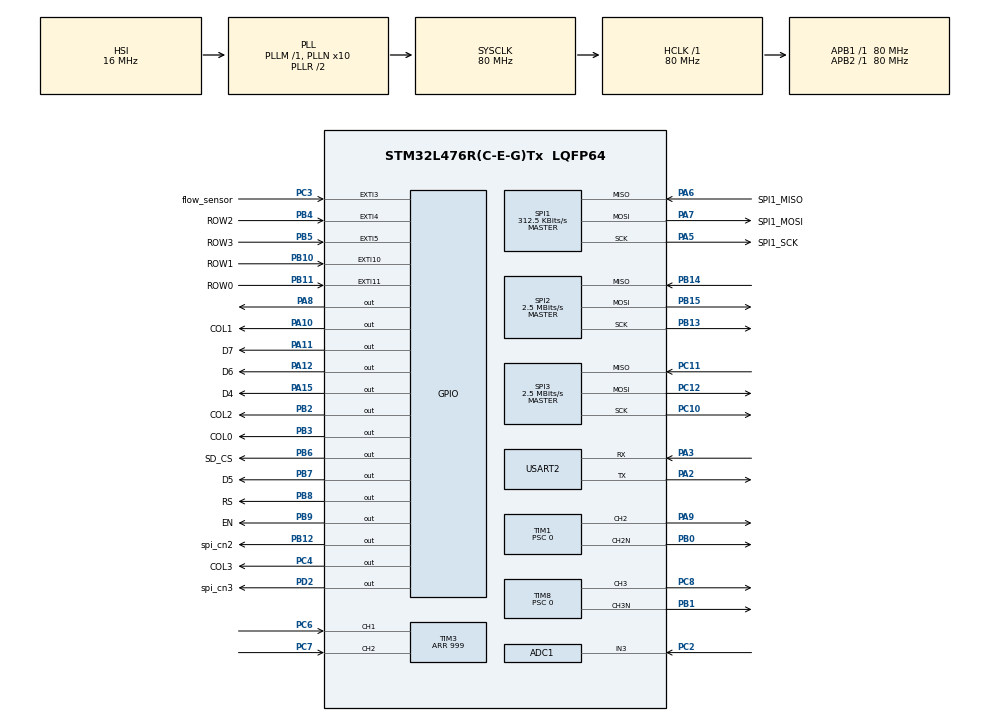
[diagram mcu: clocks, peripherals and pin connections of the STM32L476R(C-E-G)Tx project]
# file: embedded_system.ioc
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ADC1.Channel-0\#ChannelRegularConversion=ADC_CHANNEL_3
ADC1.ClockPrescaler=ADC_CLOCK_ASYNC_DIV256
ADC1.ContinuousConvMode=ENABLE
ADC1.DMAContinuousRequests=ENABLE
ADC1.NbrOfConversion=1
ADC1.NbrOfConversionFlag=1
ADC1.OffsetNumber-0\#ChannelRegularConversion=ADC_OFFSET_NONE
ADC1.Rank-0\#ChannelRegularConversion=1
ADC1.SamplingTime-0\#ChannelRegularConversion=ADC_SAMPLETIME_247CYCLES_5
ADC1.master=1
Dma.ADC1.2.Direction=DMA_PERIPH_TO_MEMORY
Dma.ADC1.2.Instance=DMA1_Channel1
Dma.ADC1.2.MemDataAlignment=DMA_MDATAALIGN_HALFWORD
Dma.ADC1.2.MemInc=DMA_MINC_ENABLE
Dma.ADC1.2.Mode=DMA_CIRCULAR
Dma.ADC1.2.PeriphDataAlignment=DMA_PDATAALIGN_HALFWORD
Dma.ADC1.2.PeriphInc=DMA_PINC_DISABLE
Dma.ADC1.2.Priority=DMA_PRIORITY_LOW
Dma.Request0=SPI1_RX
Dma.Request1=SPI1_TX
Dma.Request2=ADC1
Dma.SPI1_RX.0.Direction=DMA_PERIPH_TO_MEMORY
Dma.SPI1_RX.0.Instance=DMA1_Channel2
Dma.SPI1_RX.0.MemDataAlignment=DMA_MDATAALIGN_BYTE
Dma.SPI1_RX.0.MemInc=DMA_MINC_ENABLE
Dma.SPI1_RX.0.Mode=DMA_NORMAL
Dma.SPI1_RX.0.PeriphDataAlignment=DMA_PDATAALIGN_BYTE
Dma.SPI1_RX.0.PeriphInc=DMA_PINC_DISABLE
Dma.SPI1_RX.0.Priority=DMA_PRIORITY_LOW
Dma.SPI1_TX.1.Direction=DMA_MEMORY_TO_PERIPH
Dma.SPI1_TX.1.Instance=DMA1_Channel3
Dma.SPI1_TX.1.MemDataAlignment=DMA_MDATAALIGN_BYTE
Dma.SPI1_TX.1.MemInc=DMA_MINC_ENABLE
Dma.SPI1_TX.1.Mode=DMA_NORMAL
Dma.SPI1_TX.1.PeriphDataAlignment=DMA_PDATAALIGN_BYTE
Dma.SPI1_TX.1.PeriphInc=DMA_PINC_DISABLE
Dma.SPI1_TX.1.Priority=DMA_PRIORITY_LOW
FATFS._MAX_SS=512
FATFS._USE_FASTSEEK=1
FATFS._USE_LABEL=1
FATFS._USE_LFN=3
FATFS._USE_MKFS=1
Mcu.Family=STM32L4
Mcu.Name=STM32L476R(C-E-G)Tx
Mcu.Package=LQFP64
NVIC.DMA1_Channel1_IRQn=true\:0\:0\:false\:false\:true\:false\:true\:true
NVIC.DMA1_Channel2_IRQn=true\:0\:0\:false\:false\:true\:false\:true\:true
NVIC.DMA1_Channel3_IRQn=true\:0\:0\:false\:false\:true\:false\:true\:true
NVIC.EXTI15_10_IRQn=true\:0\:0\:false\:false\:true\:true\:true\:true
NVIC.EXTI3_IRQn=true\:0\:0\:false\:false\:true\:true\:true\:true
NVIC.EXTI4_IRQn=true\:0\:0\:false\:false\:true\:true\:true\:true
NVIC.EXTI9_5_IRQn=true\:0\:0\:false\:false\:true\:true\:true\:true
NVIC.PriorityGroup=NVIC_PRIORITYGROUP_4
NVIC.TIM1_TRG_COM_TIM17_IRQn=true\:0\:0\:false\:false\:true\:true\:true\:true
NVIC.TIM2_IRQn=true\:0\:0\:false\:false\:true\:true\:true\:true
NVIC.TIM3_IRQn=true\:0\:0\:false\:false\:true\:true\:true\:true
PA10.GPIO_Label=COL1
PA10.Signal=GPIO_Output
PA11.GPIO_Label=D7
PA11.GPIO_ModeDefaultOutputPP=GPIO_MODE_OUTPUT_PP
PA11.GPIO_PuPd=GPIO_NOPULL
PA11.GPIO_Speed=GPIO_SPEED_FREQ_HIGH
PA11.PinState=GPIO_PIN_RESET
PA11.Signal=GPIO_Output
PA12.GPIO_Label=D6
PA12.GPIO_ModeDefaultOutputPP=GPIO_MODE_OUTPUT_PP
PA12.GPIO_PuPd=GPIO_NOPULL
PA12.GPIO_Speed=GPIO_SPEED_FREQ_HIGH
PA12.PinState=GPIO_PIN_RESET
PA12.Signal=GPIO_Output
PA13\ (JTMS-SWDIO).GPIO_Label=TMS
PA13\ (JTMS-SWDIO).Signal=SYS_JTMS-SWDIO
PA14\ (JTCK-SWCLK).GPIO_Label=TCK
PA14\ (JTCK-SWCLK).Signal=SYS_JTCK-SWCLK
PA15\ (JTDI).GPIO_Label=D4
PA15\ (JTDI).GPIO_ModeDefaultOutputPP=GPIO_MODE_OUTPUT_PP
PA15\ (JTDI).GPIO_PuPd=GPIO_NOPULL
PA15\ (JTDI).GPIO_Speed=GPIO_SPEED_FREQ_HIGH
PA15\ (JTDI).PinState=GPIO_PIN_RESET
PA15\ (JTDI).Signal=GPIO_Output
PA2.Mode=Asynchronous
PA2.Signal=USART2_TX
PA3.Mode=Asynchronous
PA3.Signal=USART2_RX
PA5.GPIO_Label=SPI1_SCK
PA5.Mode=Full_Duplex_Master
PA5.Signal=SPI1_SCK
PA6.GPIO_Label=SPI1_MISO
PA6.Mode=Full_Duplex_Master
PA6.Signal=SPI1_MISO
PA7.GPIO_Label=SPI1_MOSI
PA7.Mode=Full_Duplex_Master
PA7.Signal=SPI1_MOSI
PA8.Signal=GPIO_Output
PA9.Signal=S_TIM1_CH2
PB0.Mode=PWM Generation2 CH2 CH2N
PB0.Signal=TIM1_CH2N
PB1.Mode=PWM Generation3 CH3 CH3N
PB1.Signal=TIM8_CH3N
PB10.GPIO_Label=ROW1
PB10.GPIO_ModeDefaultEXTI=GPIO_MODE_IT_RISING
PB10.GPIO_PuPd=GPIO_NOPULL
PB10.Signal=GPXTI10
PB11.GPIO_Label=ROW0
PB11.Signal=GPXTI11
PB12.GPIO_Label=spi_cn2
PB12.GPIO_Speed=GPIO_SPEED_FREQ_HIGH
PB12.PinState=GPIO_PIN_SET
PB12.Signal=GPIO_Output
PB13.Mode=Full_Duplex_Master
PB13.Signal=SPI2_SCK
PB14.Mode=Full_Duplex_Master
PB14.Signal=SPI2_MISO
PB15.Mode=Full_Duplex_Master
PB15.Signal=SPI2_MOSI
PB2.GPIO_Label=COL2
PB2.Signal=GPIO_Output
PB3\ (JTDO-TRACESWO).GPIO_Label=COL0
PB3\ (JTDO-TRACESWO).PinState=GPIO_PIN_RESET
PB3\ (JTDO-TRACESWO).Signal=GPIO_Output
PB4\ (NJTRST).GPIO_Label=ROW2
PB4\ (NJTRST).GPIO_ModeDefaultEXTI=GPIO_MODE_IT_RISING
PB4\ (NJTRST).GPIO_PuPd=GPIO_NOPULL
PB4\ (NJTRST).Signal=GPXTI4
PB5.GPIO_Label=ROW3
PB5.GPIO_ModeDefaultEXTI=GPIO_MODE_IT_RISING
PB5.GPIO_PuPd=GPIO_NOPULL
PB5.Signal=GPXTI5
PB6.GPIO_FM6=__NULL
PB6.GPIO_Label=SD_CS
PB6.GPIO_Speed=GPIO_SPEED_FREQ_VERY_HIGH
PB6.PinState=GPIO_PIN_SET
PB6.Signal=GPIO_Output
PB7.GPIO_Label=D5
PB7.GPIO_ModeDefaultOutputPP=GPIO_MODE_OUTPUT_PP
PB7.GPIO_PuPd=GPIO_NOPULL
PB7.GPIO_Speed=GPIO_SPEED_FREQ_HIGH
PB7.PinState=GPIO_PIN_RESET
PB7.Signal=GPIO_Output
PB8.GPIO_Label=RS
PB8.GPIO_ModeDefaultOutputPP=GPIO_MODE_OUTPUT_PP
PB8.GPIO_PuPd=GPIO_NOPULL
PB8.GPIO_Speed=GPIO_SPEED_FREQ_HIGH
PB8.PinState=GPIO_PIN_RESET
PB8.Signal=GPIO_Output
PB9.GPIO_Label=EN
PB9.GPIO_ModeDefaultOutputPP=GPIO_MODE_OUTPUT_PP
PB9.GPIO_PuPd=GPIO_NOPULL
PB9.GPIO_Speed=GPIO_SPEED_FREQ_HIGH
PB9.PinState=GPIO_PIN_RESET
PB9.Signal=GPIO_Output
PC10.Mode=Full_Duplex_Master
PC10.Signal=SPI3_SCK
PC11.Mode=Full_Duplex_Master
PC11.Signal=SPI3_MISO
PC12.Mode=Full_Duplex_Master
PC12.Signal=SPI3_MOSI
PC14-OSC32_IN\ (PC14).Mode=LSE-External-Clock-Source
PC14-OSC32_IN\ (PC14).Signal=RCC_OSC32_IN
PC15-OSC32_OUT\ (PC15).Signal=RCC_OSC32_OUT
PC2.Signal=ADCx_IN3
PC3.GPIO_Label=flow_sensor
PC3.GPIO_PuPd=GPIO_PULLUP
PC3.Signal=GPXTI3
PC4.GPIO_Label=COL3
PC4.Signal=GPIO_Output
PC5.Signal=ADCx_IN14
PC6.Signal=S_TIM3_CH1
PC7.Signal=S_TIM3_CH2
PC8.Signal=S_TIM8_CH3
PD2.GPIO_Label=spi_cn3
PD2.GPIO_Speed=GPIO_SPEED_FREQ_HIGH
PD2.Signal=GPIO_Output
PH0-OSC_IN\ (PH0).Mode=HSE-External-Oscillator
PH0-OSC_IN\ (PH0).Signal=RCC_OSC_IN
PH1-OSC_OUT\ (PH1).Mode=HSE-External-Oscillator
PH1-OSC_OUT\ (PH1).Signal=RCC_OSC_OUT
ProjectManager.HeapSize=0x200
ProjectManager.StackSize=0x400
ProjectManager.TargetToolchain=STM32CubeIDE
RCC.ADCFreq_Value=64000000
RCC.AHBFreq_Value=80000000
RCC.APB1Freq_Value=80000000
RCC.APB1TimFreq_Value=80000000
RCC.APB2Freq_Value=80000000
RCC.APB2TimFreq_Value=80000000
RCC.CortexFreq_Value=80000000
RCC.HCLKFreq_Value=80000000
RCC.HSE_VALUE=25000000
RCC.HSI_VALUE=16000000
RCC.LSE_VALUE=32768
RCC.MSI_VALUE=4000000
RCC.PLLN=10
RCC.PLLSourceVirtual=RCC_PLLSOURCE_HSI
RCC.PREFETCH_ENABLE=1
RCC.SYSCLKFreq_VALUE=80000000
RCC.SYSCLKSource=RCC_SYSCLKSOURCE_PLLCLK
RCC.USBFreq_Value=64000000
RCC.VCOOutputFreq_Value=160000000
SH.ADCx_IN14.0=ADC2_IN14
SH.ADCx_IN3.0=ADC1_IN3,IN3-Single-Ended
SH.S_TIM1_CH2.0=TIM1_CH2,PWM Generation2 CH2 CH2N
SH.S_TIM3_CH1.0=TIM3_CH1,Encoder_Interface
SH.S_TIM3_CH2.0=TIM3_CH2,Encoder_Interface
SH.S_TIM8_CH3.0=TIM8_CH3,PWM Generation3 CH3 CH3N
SPI1.BaudRatePrescaler=SPI_BAUDRATEPRESCALER_256
SPI1.CalculateBaudRate=312.5 KBits/s
SPI1.DataSize=SPI_DATASIZE_8BIT
SPI1.Direction=SPI_DIRECTION_2LINES
SPI1.Mode=SPI_MODE_MASTER
SPI1.VirtualType=VM_MASTER
SPI2.BaudRatePrescaler=SPI_BAUDRATEPRESCALER_32
SPI2.CLKPhase=SPI_PHASE_2EDGE
SPI2.CLKPolarity=SPI_POLARITY_HIGH
SPI2.CalculateBaudRate=2.5 MBits/s
SPI2.DataSize=SPI_DATASIZE_8BIT
SPI2.Direction=SPI_DIRECTION_2LINES
SPI2.Mode=SPI_MODE_MASTER
SPI2.VirtualType=VM_MASTER
SPI3.BaudRatePrescaler=SPI_BAUDRATEPRESCALER_32
SPI3.CLKPhase=SPI_PHASE_2EDGE
SPI3.CLKPolarity=SPI_POLARITY_HIGH
SPI3.CalculateBaudRate=2.5 MBits/s
SPI3.DataSize=SPI_DATASIZE_8BIT
SPI3.Direction=SPI_DIRECTION_2LINES
SPI3.Mode=SPI_MODE_MASTER
SPI3.VirtualType=VM_MASTER
TIM1.Channel-PWM\ Generation2\ CH2\ CH2N=TIM_CHANNEL_2
TIM1.Period=248
TIM1.Prescaler=0
TIM1.TIM_MasterOutputTrigger=TIM_TRGO_UPDATE
TIM1.TIM_MasterOutputTrigger2=TIM_TRGO2_UPDATE
TIM1.TIM_MasterSlaveMode=TIM_MASTERSLAVEMODE_ENABLE
TIM2.Period=7999
TIM2.Prescaler=1
TIM3.AutoReloadPreload=TIM_AUTORELOAD_PRELOAD_ENABLE
TIM3.EncoderMode=TIM_ENCODERMODE_TI12
TIM3.IC2Filter=10
TIM3.Period=999
TIM8.Channel-PWM\ Generation3\ CH3\ CH3N=TIM_CHANNEL_3
TIM8.Period=248
TIM8.Prescaler=0
TIM8.TIM_MasterSlaveMode=TIM_MASTERSLAVEMODE_ENABLE
USART2.VirtualMode-Asynchronous=VM_ASYNC
VP_FATFS_VS_Generic.Mode=User_defined
VP_TIM1_VS_ClockSourceITR.Mode=TriggerSource_ITR0
VP_TIM2_VS_ClockSourceINT.Mode=Internal
VP_TIM8_VS_ClockSourceITR.Mode=TriggerSource_ITR0
VP_TIM8_VS_ControllerModeTrigger.Mode=Trigger Mode
board=NUCLEO-L476RG

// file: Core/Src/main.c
/* USER CODE BEGIN Header */
/**
 ******************************************************************************
 * @file           : main.c
 * @brief          : Main program body
 ******************************************************************************
 * @attention
 *
 * Copyright (c) 2025 STMicroelectronics.
 * All rights reserved.
 *
 * This software is licensed under terms that can be found in the LICENSE file
 * in the root directory of this software component.
 * If no LICENSE file comes with this software, it is provided AS-IS.
 *
 ******************************************************************************
 */
/* USER CODE END Header */
#include "main.h"
#include "fatfs.h"

/* USER CODE BEGIN Includes */
#include "run.h"
#include "flow_sensor.h"
#include "lcd.h"
#include "rotary_encoder.h"
#include "delay.h"
#include "stm32l4xx_hal.h"
#include "stm32l476xx.h"
#include "keypad.h"
/* USER CODE END Includes */

ADC_HandleTypeDef hadc1;
DMA_HandleTypeDef hdma_adc1;

SPI_HandleTypeDef hspi1;
SPI_HandleTypeDef hspi2;
SPI_HandleTypeDef hspi3;
DMA_HandleTypeDef hdma_spi1_rx;
DMA_HandleTypeDef hdma_spi1_tx;

TIM_HandleTypeDef htim1;
TIM_HandleTypeDef htim2;
TIM_HandleTypeDef htim3;
TIM_HandleTypeDef htim8;

UART_HandleTypeDef huart2;

/* USER CODE BEGIN PV */
TIM_TypeDef getTimer3Instance()
{
  return *htim3.Instance;
}
void HAL_GPIO_EXTI_Callback(uint16_t GPIO_Pin)
{
  switch (GPIO_Pin)
  {
  case flow_sensor_Pin:
    onFlowPulse();
    break;
  case ROW0_Pin:
    rowEvent(0);
    break;
  case ROW1_Pin:
    rowEvent(1);
    break;
  case ROW2_Pin:
    rowEvent(2);
    break;
  case ROW3_Pin:
    rowEvent(3);
    break;
  }
}
void HAL_TIM_IC_CaptureCallback(TIM_HandleTypeDef *htim)
{
  // Called on CC1/CC2 edges (i.e., every count change in encoder mode)
  if (htim->Instance == TIM3)
  {
    // Read count and direction
    int16_t cnt = (int16_t)__HAL_TIM_GET_COUNTER(htim);
    unsigned down = __HAL_TIM_IS_TIM_COUNTING_DOWN(htim); // 0=cw, 1=ccw

    // TODO: your handler
    // Example: call a user function to react to step
    onRotate(cnt, down);
  }
}

void HAL_TIM_PeriodElapsedCallback(TIM_HandleTypeDef *htim)
{
  if (htim->Instance == TIM3)
  {
    onWrap(__HAL_TIM_IS_TIM_COUNTING_DOWN(htim));
    // handle wrap-around if you care
  }
  if (htim->Instance == TIM2)
  {
    // HAL_GPIO_TogglePin(LD2_GPIO_Port, LD2_Pin);
    LCD_TIM_2_Callback(); // from src/lcd.c - drives the LCD state machine
    Delay_TIM_2_Callback();
  }
}

// onFlowPulse();

/* USER CODE END PV */

void SystemClock_Config(void);
static void MX_GPIO_Init(void);
static void MX_DMA_Init(void);
static void MX_TIM1_Init(void);
static void MX_TIM2_Init(void);
static void MX_TIM3_Init(void);
static void MX_SPI2_Init(void);
static void MX_SPI3_Init(void);
static void MX_SPI1_Init(void);
static void MX_USART2_UART_Init(void);
static void MX_TIM8_Init(void);
static void MX_ADC1_Init(void);

/* USER CODE BEGIN 0 */
int _write(int fd, unsigned char *buf, int len)
{
  if (fd == 1 || fd == 2)
  {                                            // stdout or stderr ?
    HAL_UART_Transmit(&huart2, buf, len, 999); // Print to the UART
  }
  return len;
}
/* USER CODE END 0 */

int main(void)
{

  /* MCU Configuration--------------------------------------------------------*/

  /* Reset of all peripherals, Initializes the Flash interface and the Systick. */
  HAL_Init();

  /* Configure the system clock */
  SystemClock_Config();

  /* Initialize all configured peripherals */
  MX_GPIO_Init();
  MX_DMA_Init();
  MX_TIM1_Init();
  MX_TIM2_Init();
  MX_TIM3_Init();
  MX_SPI2_Init();
  MX_SPI3_Init();
  MX_SPI1_Init();
  MX_USART2_UART_Init();
  MX_TIM8_Init();
  MX_ADC1_Init();
  /* USER CODE BEGIN 2 */
  HAL_TIM_Base_Start_IT(&htim2);
  HAL_TIM_Encoder_Start_IT(&htim3, TIM_CHANNEL_ALL);
  /* USER CODE END 2 */

  /* Infinite loop */
  /* USER CODE BEGIN WHILE */
  run();
    /* USER CODE END WHILE */

}

void SystemClock_Config(void)
{
  RCC_OscInitTypeDef RCC_OscInitStruct = {0};
  RCC_ClkInitTypeDef RCC_ClkInitStruct = {0};

  /** Configure the main internal regulator output voltage
  */
  if (HAL_PWREx_ControlVoltageScaling(PWR_REGULATOR_VOLTAGE_SCALE1) != HAL_OK)
  {
    Error_Handler();
  }

  /** Initializes the RCC Oscillators according to the specified parameters
  * in the RCC_OscInitTypeDef structure.
  */
  RCC_OscInitStruct.OscillatorType = RCC_OSCILLATORTYPE_HSI;
  RCC_OscInitStruct.HSIState = RCC_HSI_ON;
  RCC_OscInitStruct.HSICalibrationValue = RCC_HSICALIBRATION_DEFAULT;
  RCC_OscInitStruct.PLL.PLLState = RCC_PLL_ON;
  RCC_OscInitStruct.PLL.PLLSource = RCC_PLLSOURCE_HSI;
  RCC_OscInitStruct.PLL.PLLM = 1;
  RCC_OscInitStruct.PLL.PLLN = 10;
  RCC_OscInitStruct.PLL.PLLP = RCC_PLLP_DIV7;
  RCC_OscInitStruct.PLL.PLLQ = RCC_PLLQ_DIV2;
  RCC_OscInitStruct.PLL.PLLR = RCC_PLLR_DIV2;
  if (HAL_RCC_OscConfig(&RCC_OscInitStruct) != HAL_OK)
  {
    Error_Handler();
  }

  /** Initializes the CPU, AHB and APB buses clocks
  */
  RCC_ClkInitStruct.ClockType = RCC_CLOCKTYPE_HCLK|RCC_CLOCKTYPE_SYSCLK
                              |RCC_CLOCKTYPE_PCLK1|RCC_CLOCKTYPE_PCLK2;
  RCC_ClkInitStruct.SYSCLKSource = RCC_SYSCLKSOURCE_PLLCLK;
  RCC_ClkInitStruct.AHBCLKDivider = RCC_SYSCLK_DIV1;
  RCC_ClkInitStruct.APB1CLKDivider = RCC_HCLK_DIV1;
  RCC_ClkInitStruct.APB2CLKDivider = RCC_HCLK_DIV1;

  if (HAL_RCC_ClockConfig(&RCC_ClkInitStruct, FLASH_LATENCY_4) != HAL_OK)
  {
    Error_Handler();
  }
}

static void MX_ADC1_Init(void)
{

  ADC_MultiModeTypeDef multimode = {0};
  ADC_ChannelConfTypeDef sConfig = {0};

  /** Common config
  */
  hadc1.Instance = ADC1;
  hadc1.Init.ClockPrescaler = ADC_CLOCK_ASYNC_DIV256;
  hadc1.Init.Resolution = ADC_RESOLUTION_12B;
  hadc1.Init.DataAlign = ADC_DATAALIGN_RIGHT;
  hadc1.Init.ScanConvMode = ADC_SCAN_DISABLE;
  hadc1.Init.EOCSelection = ADC_EOC_SINGLE_CONV;
  hadc1.Init.LowPowerAutoWait = DISABLE;
  hadc1.Init.ContinuousConvMode = ENABLE;
  hadc1.Init.NbrOfConversion = 1;
  hadc1.Init.DiscontinuousConvMode = DISABLE;
  hadc1.Init.ExternalTrigConv = ADC_SOFTWARE_START;
  hadc1.Init.ExternalTrigConvEdge = ADC_EXTERNALTRIGCONVEDGE_NONE;
  hadc1.Init.DMAContinuousRequests = ENABLE;
  hadc1.Init.Overrun = ADC_OVR_DATA_PRESERVED;
  hadc1.Init.OversamplingMode = DISABLE;
  if (HAL_ADC_Init(&hadc1) != HAL_OK)
  {
    Error_Handler();
  }

  /** Configure the ADC multi-mode
  */
  multimode.Mode = ADC_MODE_INDEPENDENT;
  if (HAL_ADCEx_MultiModeConfigChannel(&hadc1, &multimode) != HAL_OK)
  {
    Error_Handler();
  }

  /** Configure Regular Channel
  */
  sConfig.Channel = ADC_CHANNEL_3;
  sConfig.Rank = ADC_REGULAR_RANK_1;
  sConfig.SamplingTime = ADC_SAMPLETIME_247CYCLES_5;
  sConfig.SingleDiff = ADC_SINGLE_ENDED;
  sConfig.OffsetNumber = ADC_OFFSET_NONE;
  sConfig.Offset = 0;
  if (HAL_ADC_ConfigChannel(&hadc1, &sConfig) != HAL_OK)
  {
    Error_Handler();
  }

}

static void MX_SPI1_Init(void)
{

  /* SPI1 parameter configuration*/
  hspi1.Instance = SPI1;
  hspi1.Init.Mode = SPI_MODE_MASTER;
  hspi1.Init.Direction = SPI_DIRECTION_2LINES;
  hspi1.Init.DataSize = SPI_DATASIZE_8BIT;
  hspi1.Init.CLKPolarity = SPI_POLARITY_LOW;
  hspi1.Init.CLKPhase = SPI_PHASE_1EDGE;
  hspi1.Init.NSS = SPI_NSS_SOFT;
  hspi1.Init.BaudRatePrescaler = SPI_BAUDRATEPRESCALER_256;
  hspi1.Init.FirstBit = SPI_FIRSTBIT_MSB;
  hspi1.Init.TIMode = SPI_TIMODE_DISABLE;
  hspi1.Init.CRCCalculation = SPI_CRCCALCULATION_DISABLE;
  hspi1.Init.CRCPolynomial = 7;
  hspi1.Init.CRCLength = SPI_CRC_LENGTH_DATASIZE;
  hspi1.Init.NSSPMode = SPI_NSS_PULSE_ENABLE;
  if (HAL_SPI_Init(&hspi1) != HAL_OK)
  {
    Error_Handler();
  }

}

static void MX_SPI2_Init(void)
{

  /* SPI2 parameter configuration*/
  hspi2.Instance = SPI2;
  hspi2.Init.Mode = SPI_MODE_MASTER;
  hspi2.Init.Direction = SPI_DIRECTION_2LINES;
  hspi2.Init.DataSize = SPI_DATASIZE_8BIT;
  hspi2.Init.CLKPolarity = SPI_POLARITY_HIGH;
  hspi2.Init.CLKPhase = SPI_PHASE_2EDGE;
  hspi2.Init.NSS = SPI_NSS_SOFT;
  hspi2.Init.BaudRatePrescaler = SPI_BAUDRATEPRESCALER_32;
  hspi2.Init.FirstBit = SPI_FIRSTBIT_MSB;
  hspi2.Init.TIMode = SPI_TIMODE_DISABLE;
  hspi2.Init.CRCCalculation = SPI_CRCCALCULATION_DISABLE;
  hspi2.Init.CRCPolynomial = 7;
  hspi2.Init.CRCLength = SPI_CRC_LENGTH_DATASIZE;
  hspi2.Init.NSSPMode = SPI_NSS_PULSE_DISABLE;
  if (HAL_SPI_Init(&hspi2) != HAL_OK)
  {
    Error_Handler();
  }

}

static void MX_SPI3_Init(void)
{

  /* SPI3 parameter configuration*/
  hspi3.Instance = SPI3;
  hspi3.Init.Mode = SPI_MODE_MASTER;
  hspi3.Init.Direction = SPI_DIRECTION_2LINES;
  hspi3.Init.DataSize = SPI_DATASIZE_8BIT;
  hspi3.Init.CLKPolarity = SPI_POLARITY_HIGH;
  hspi3.Init.CLKPhase = SPI_PHASE_2EDGE;
  hspi3.Init.NSS = SPI_NSS_SOFT;
  hspi3.Init.BaudRatePrescaler = SPI_BAUDRATEPRESCALER_32;
  hspi3.Init.FirstBit = SPI_FIRSTBIT_MSB;
  hspi3.Init.TIMode = SPI_TIMODE_DISABLE;
  hspi3.Init.CRCCalculation = SPI_CRCCALCULATION_DISABLE;
  hspi3.Init.CRCPolynomial = 7;
  hspi3.Init.CRCLength = SPI_CRC_LENGTH_DATASIZE;
  hspi3.Init.NSSPMode = SPI_NSS_PULSE_DISABLE;
  if (HAL_SPI_Init(&hspi3) != HAL_OK)
  {
    Error_Handler();
  }

}

static void MX_TIM1_Init(void)
{

  TIM_SlaveConfigTypeDef sSlaveConfig = {0};
  TIM_MasterConfigTypeDef sMasterConfig = {0};
  TIM_OC_InitTypeDef sConfigOC = {0};
  TIM_BreakDeadTimeConfigTypeDef sBreakDeadTimeConfig = {0};

  htim1.Instance = TIM1;
  htim1.Init.Prescaler = 0;
  htim1.Init.CounterMode = TIM_COUNTERMODE_UP;
  htim1.Init.Period = 248;
  htim1.Init.ClockDivision = TIM_CLOCKDIVISION_DIV1;
  htim1.Init.RepetitionCounter = 0;
  htim1.Init.AutoReloadPreload = TIM_AUTORELOAD_PRELOAD_DISABLE;
  if (HAL_TIM_Base_Init(&htim1) != HAL_OK)
  {
    Error_Handler();
  }
  if (HAL_TIM_PWM_Init(&htim1) != HAL_OK)
  {
    Error_Handler();
  }
  sSlaveConfig.SlaveMode = TIM_SLAVEMODE_DISABLE;
  sSlaveConfig.InputTrigger = TIM_TS_ITR0;
  if (HAL_TIM_SlaveConfigSynchro(&htim1, &sSlaveConfig) != HAL_OK)
  {
    Error_Handler();
  }
  sMasterConfig.MasterOutputTrigger = TIM_TRGO_UPDATE;
  sMasterConfig.MasterOutputTrigger2 = TIM_TRGO2_UPDATE;
  sMasterConfig.MasterSlaveMode = TIM_MASTERSLAVEMODE_ENABLE;
  if (HAL_TIMEx_MasterConfigSynchronization(&htim1, &sMasterConfig) != HAL_OK)
  {
    Error_Handler();
  }
  sConfigOC.OCMode = TIM_OCMODE_PWM1;
  sConfigOC.Pulse = 0;
  sConfigOC.OCPolarity = TIM_OCPOLARITY_HIGH;
  sConfigOC.OCNPolarity = TIM_OCNPOLARITY_HIGH;
  sConfigOC.OCFastMode = TIM_OCFAST_DISABLE;
  sConfigOC.OCIdleState = TIM_OCIDLESTATE_RESET;
  sConfigOC.OCNIdleState = TIM_OCNIDLESTATE_RESET;
  if (HAL_TIM_PWM_ConfigChannel(&htim1, &sConfigOC, TIM_CHANNEL_2) != HAL_OK)
  {
    Error_Handler();
  }
  sBreakDeadTimeConfig.OffStateRunMode = TIM_OSSR_DISABLE;
  sBreakDeadTimeConfig.OffStateIDLEMode = TIM_OSSI_DISABLE;
  sBreakDeadTimeConfig.LockLevel = TIM_LOCKLEVEL_OFF;
  sBreakDeadTimeConfig.DeadTime = 0;
  sBreakDeadTimeConfig.BreakState = TIM_BREAK_DISABLE;
  sBreakDeadTimeConfig.BreakPolarity = TIM_BREAKPOLARITY_HIGH;
  sBreakDeadTimeConfig.BreakFilter = 0;
  sBreakDeadTimeConfig.Break2State = TIM_BREAK2_DISABLE;
  sBreakDeadTimeConfig.Break2Polarity = TIM_BREAK2POLARITY_HIGH;
  sBreakDeadTimeConfig.Break2Filter = 0;
  sBreakDeadTimeConfig.AutomaticOutput = TIM_AUTOMATICOUTPUT_DISABLE;
  if (HAL_TIMEx_ConfigBreakDeadTime(&htim1, &sBreakDeadTimeConfig) != HAL_OK)
  {
    Error_Handler();
  }
  HAL_TIM_MspPostInit(&htim1);

}

static void MX_TIM2_Init(void)
{

  TIM_ClockConfigTypeDef sClockSourceConfig = {0};
  TIM_MasterConfigTypeDef sMasterConfig = {0};

  htim2.Instance = TIM2;
  htim2.Init.Prescaler = 1;
  htim2.Init.CounterMode = TIM_COUNTERMODE_UP;
  htim2.Init.Period = 7999;
  htim2.Init.ClockDivision = TIM_CLOCKDIVISION_DIV1;
  htim2.Init.AutoReloadPreload = TIM_AUTORELOAD_PRELOAD_DISABLE;
  if (HAL_TIM_Base_Init(&htim2) != HAL_OK)
  {
    Error_Handler();
  }
  sClockSourceConfig.ClockSource = TIM_CLOCKSOURCE_INTERNAL;
  if (HAL_TIM_ConfigClockSource(&htim2, &sClockSourceConfig) != HAL_OK)
  {
    Error_Handler();
  }
  sMasterConfig.MasterOutputTrigger = TIM_TRGO_RESET;
  sMasterConfig.MasterSlaveMode = TIM_MASTERSLAVEMODE_DISABLE;
  if (HAL_TIMEx_MasterConfigSynchronization(&htim2, &sMasterConfig) != HAL_OK)
  {
    Error_Handler();
  }

}

static void MX_TIM3_Init(void)
{

  TIM_Encoder_InitTypeDef sConfig = {0};
  TIM_MasterConfigTypeDef sMasterConfig = {0};

  htim3.Instance = TIM3;
  htim3.Init.Prescaler = 0;
  htim3.Init.CounterMode = TIM_COUNTERMODE_UP;
  htim3.Init.Period = 999;
  htim3.Init.ClockDivision = TIM_CLOCKDIVISION_DIV1;
  htim3.Init.AutoReloadPreload = TIM_AUTORELOAD_PRELOAD_ENABLE;
  sConfig.EncoderMode = TIM_ENCODERMODE_TI12;
  sConfig.IC1Polarity = TIM_ICPOLARITY_RISING;
  sConfig.IC1Selection = TIM_ICSELECTION_DIRECTTI;
  sConfig.IC1Prescaler = TIM_ICPSC_DIV1;
  sConfig.IC1Filter = 0;
  sConfig.IC2Polarity = TIM_ICPOLARITY_RISING;
  sConfig.IC2Selection = TIM_ICSELECTION_DIRECTTI;
  sConfig.IC2Prescaler = TIM_ICPSC_DIV1;
  sConfig.IC2Filter = 10;
  if (HAL_TIM_Encoder_Init(&htim3, &sConfig) != HAL_OK)
  {
    Error_Handler();
  }
  sMasterConfig.MasterOutputTrigger = TIM_TRGO_RESET;
  sMasterConfig.MasterSlaveMode = TIM_MASTERSLAVEMODE_DISABLE;
  if (HAL_TIMEx_MasterConfigSynchronization(&htim3, &sMasterConfig) != HAL_OK)
  {
    Error_Handler();
  }

}

static void MX_TIM8_Init(void)
{

  TIM_SlaveConfigTypeDef sSlaveConfig = {0};
  TIM_MasterConfigTypeDef sMasterConfig = {0};
  TIM_OC_InitTypeDef sConfigOC = {0};
  TIM_BreakDeadTimeConfigTypeDef sBreakDeadTimeConfig = {0};

  htim8.Instance = TIM8;
  htim8.Init.Prescaler = 0;
  htim8.Init.CounterMode = TIM_COUNTERMODE_UP;
  htim8.Init.Period = 248;
  htim8.Init.ClockDivision = TIM_CLOCKDIVISION_DIV1;
  htim8.Init.RepetitionCounter = 0;
  htim8.Init.AutoReloadPreload = TIM_AUTORELOAD_PRELOAD_DISABLE;
  if (HAL_TIM_Base_Init(&htim8) != HAL_OK)
  {
    Error_Handler();
  }
  if (HAL_TIM_PWM_Init(&htim8) != HAL_OK)
  {
    Error_Handler();
  }
  sSlaveConfig.SlaveMode = TIM_SLAVEMODE_TRIGGER;
  sSlaveConfig.InputTrigger = TIM_TS_ITR0;
  if (HAL_TIM_SlaveConfigSynchro(&htim8, &sSlaveConfig) != HAL_OK)
  {
    Error_Handler();
  }
  sMasterConfig.MasterOutputTrigger = TIM_TRGO_RESET;
  sMasterConfig.MasterOutputTrigger2 = TIM_TRGO2_RESET;
  sMasterConfig.MasterSlaveMode = TIM_MASTERSLAVEMODE_ENABLE;
  if (HAL_TIMEx_MasterConfigSynchronization(&htim8, &sMasterConfig) != HAL_OK)
  {
    Error_Handler();
  }
  sConfigOC.OCMode = TIM_OCMODE_PWM1;
  sConfigOC.Pulse = 0;
  sConfigOC.OCPolarity = TIM_OCPOLARITY_HIGH;
  sConfigOC.OCNPolarity = TIM_OCNPOLARITY_HIGH;
  sConfigOC.OCFastMode = TIM_OCFAST_DISABLE;
  sConfigOC.OCIdleState = TIM_OCIDLESTATE_RESET;
  sConfigOC.OCNIdleState = TIM_OCNIDLESTATE_RESET;
  if (HAL_TIM_PWM_ConfigChannel(&htim8, &sConfigOC, TIM_CHANNEL_3) != HAL_OK)
  {
    Error_Handler();
  }
  sBreakDeadTimeConfig.OffStateRunMode = TIM_OSSR_DISABLE;
  sBreakDeadTimeConfig.OffStateIDLEMode = TIM_OSSI_DISABLE;
  sBreakDeadTimeConfig.LockLevel = TIM_LOCKLEVEL_OFF;
  sBreakDeadTimeConfig.DeadTime = 0;
  sBreakDeadTimeConfig.BreakState = TIM_BREAK_DISABLE;
  sBreakDeadTimeConfig.BreakPolarity = TIM_BREAKPOLARITY_HIGH;
  sBreakDeadTimeConfig.BreakFilter = 0;
  sBreakDeadTimeConfig.Break2State = TIM_BREAK2_DISABLE;
  sBreakDeadTimeConfig.Break2Polarity = TIM_BREAK2POLARITY_HIGH;
  sBreakDeadTimeConfig.Break2Filter = 0;
  sBreakDeadTimeConfig.AutomaticOutput = TIM_AUTOMATICOUTPUT_DISABLE;
  if (HAL_TIMEx_ConfigBreakDeadTime(&htim8, &sBreakDeadTimeConfig) != HAL_OK)
  {
    Error_Handler();
  }
  HAL_TIM_MspPostInit(&htim8);

}

static void MX_USART2_UART_Init(void)
{

  huart2.Instance = USART2;
  huart2.Init.BaudRate = 115200;
  huart2.Init.WordLength = UART_WORDLENGTH_8B;
  huart2.Init.StopBits = UART_STOPBITS_1;
  huart2.Init.Parity = UART_PARITY_NONE;
  huart2.Init.Mode = UART_MODE_TX_RX;
  huart2.Init.HwFlowCtl = UART_HWCONTROL_NONE;
  huart2.Init.OverSampling = UART_OVERSAMPLING_16;
  huart2.Init.OneBitSampling = UART_ONE_BIT_SAMPLE_DISABLE;
  huart2.AdvancedInit.AdvFeatureInit = UART_ADVFEATURE_NO_INIT;
  if (HAL_UART_Init(&huart2) != HAL_OK)
  {
    Error_Handler();
  }

}

static void MX_DMA_Init(void)
{

  /* DMA controller clock enable */
  __HAL_RCC_DMA1_CLK_ENABLE();

  /* DMA interrupt init */
  /* DMA1_Channel1_IRQn interrupt configuration */
  HAL_NVIC_SetPriority(DMA1_Channel1_IRQn, 0, 0);
  HAL_NVIC_EnableIRQ(DMA1_Channel1_IRQn);
  /* DMA1_Channel2_IRQn interrupt configuration */
  HAL_NVIC_SetPriority(DMA1_Channel2_IRQn, 0, 0);
  HAL_NVIC_EnableIRQ(DMA1_Channel2_IRQn);
  /* DMA1_Channel3_IRQn interrupt configuration */
  HAL_NVIC_SetPriority(DMA1_Channel3_IRQn, 0, 0);
  HAL_NVIC_EnableIRQ(DMA1_Channel3_IRQn);

}

static void MX_GPIO_Init(void)
{
  GPIO_InitTypeDef GPIO_InitStruct = {0};

  /* GPIO Ports Clock Enable */
  __HAL_RCC_GPIOC_CLK_ENABLE();
  __HAL_RCC_GPIOH_CLK_ENABLE();
  __HAL_RCC_GPIOA_CLK_ENABLE();
  __HAL_RCC_GPIOB_CLK_ENABLE();
  __HAL_RCC_GPIOD_CLK_ENABLE();

  /*Configure GPIO pin Output Level */
  HAL_GPIO_WritePin(COL3_GPIO_Port, COL3_Pin, GPIO_PIN_RESET);

  /*Configure GPIO pin Output Level */
  HAL_GPIO_WritePin(GPIOB, COL2_Pin|COL0_Pin|D5_Pin|RS_Pin
                          |EN_Pin, GPIO_PIN_RESET);

  /*Configure GPIO pin Output Level */
  HAL_GPIO_WritePin(GPIOB, spi_cn2_Pin|SD_CS_Pin, GPIO_PIN_SET);

  /*Configure GPIO pin Output Level */
  HAL_GPIO_WritePin(GPIOA, GPIO_PIN_8|COL1_Pin|D7_Pin|D6_Pin
                          |D4_Pin, GPIO_PIN_RESET);

  /*Configure GPIO pin Output Level */
  HAL_GPIO_WritePin(spi_cn3_GPIO_Port, spi_cn3_Pin, GPIO_PIN_RESET);

  /*Configure GPIO pin : flow_sensor_Pin */
  GPIO_InitStruct.Pin = flow_sensor_Pin;
  GPIO_InitStruct.Mode = GPIO_MODE_IT_RISING;
  GPIO_InitStruct.Pull = GPIO_PULLUP;
  HAL_GPIO_Init(flow_sensor_GPIO_Port, &GPIO_InitStruct);

  /*Configure GPIO pin : COL3_Pin */
  GPIO_InitStruct.Pin = COL3_Pin;
  GPIO_InitStruct.Mode = GPIO_MODE_OUTPUT_PP;
  GPIO_InitStruct.Pull = GPIO_NOPULL;
  GPIO_InitStruct.Speed = GPIO_SPEED_FREQ_LOW;
  HAL_GPIO_Init(COL3_GPIO_Port, &GPIO_InitStruct);

  /*Configure GPIO pin : PC5 */
  GPIO_InitStruct.Pin = GPIO_PIN_5;
  GPIO_InitStruct.Mode = GPIO_MODE_ANALOG_ADC_CONTROL;
  GPIO_InitStruct.Pull = GPIO_NOPULL;
  HAL_GPIO_Init(GPIOC, &GPIO_InitStruct);

  /*Configure GPIO pins : COL2_Pin COL0_Pin */
  GPIO_InitStruct.Pin = COL2_Pin|COL0_Pin;
  GPIO_InitStruct.Mode = GPIO_MODE_OUTPUT_PP;
  GPIO_InitStruct.Pull = GPIO_NOPULL;
  GPIO_InitStruct.Speed = GPIO_SPEED_FREQ_LOW;
  HAL_GPIO_Init(GPIOB, &GPIO_InitStruct);

  /*Configure GPIO pins : ROW1_Pin ROW0_Pin ROW2_Pin ROW3_Pin */
  GPIO_InitStruct.Pin = ROW1_Pin|ROW0_Pin|ROW2_Pin|ROW3_Pin;
  GPIO_InitStruct.Mode = GPIO_MODE_IT_RISING;
  GPIO_InitStruct.Pull = GPIO_NOPULL;
  HAL_GPIO_Init(GPIOB, &GPIO_InitStruct);

  /*Configure GPIO pins : spi_cn2_Pin D5_Pin RS_Pin EN_Pin */
  GPIO_InitStruct.Pin = spi_cn2_Pin|D5_Pin|RS_Pin|EN_Pin;
  GPIO_InitStruct.Mode = GPIO_MODE_OUTPUT_PP;
  GPIO_InitStruct.Pull = GPIO_NOPULL;
  GPIO_InitStruct.Speed = GPIO_SPEED_FREQ_HIGH;
  HAL_GPIO_Init(GPIOB, &GPIO_InitStruct);

  /*Configure GPIO pins : PA8 COL1_Pin */
  GPIO_InitStruct.Pin = GPIO_PIN_8|COL1_Pin;
  GPIO_InitStruct.Mode = GPIO_MODE_OUTPUT_PP;
  GPIO_InitStruct.Pull = GPIO_NOPULL;
  GPIO_InitStruct.Speed = GPIO_SPEED_FREQ_LOW;
  HAL_GPIO_Init(GPIOA, &GPIO_InitStruct);

  /*Configure GPIO pins : D7_Pin D6_Pin D4_Pin */
  GPIO_InitStruct.Pin = D7_Pin|D6_Pin|D4_Pin;
  GPIO_InitStruct.Mode = GPIO_MODE_OUTPUT_PP;
  GPIO_InitStruct.Pull = GPIO_NOPULL;
  GPIO_InitStruct.Speed = GPIO_SPEED_FREQ_HIGH;
  HAL_GPIO_Init(GPIOA, &GPIO_InitStruct);

  /*Configure GPIO pin : spi_cn3_Pin */
  GPIO_InitStruct.Pin = spi_cn3_Pin;
  GPIO_InitStruct.Mode = GPIO_MODE_OUTPUT_PP;
  GPIO_InitStruct.Pull = GPIO_NOPULL;
  GPIO_InitStruct.Speed = GPIO_SPEED_FREQ_HIGH;
  HAL_GPIO_Init(spi_cn3_GPIO_Port, &GPIO_InitStruct);

  /*Configure GPIO pin : SD_CS_Pin */
  GPIO_InitStruct.Pin = SD_CS_Pin;
  GPIO_InitStruct.Mode = GPIO_MODE_OUTPUT_PP;
  GPIO_InitStruct.Pull = GPIO_NOPULL;
  GPIO_InitStruct.Speed = GPIO_SPEED_FREQ_VERY_HIGH;
  HAL_GPIO_Init(SD_CS_GPIO_Port, &GPIO_InitStruct);

  /* EXTI interrupt init*/
  HAL_NVIC_SetPriority(EXTI3_IRQn, 0, 0);
  HAL_NVIC_EnableIRQ(EXTI3_IRQn);

  HAL_NVIC_SetPriority(EXTI4_IRQn, 0, 0);
  HAL_NVIC_EnableIRQ(EXTI4_IRQn);

  HAL_NVIC_SetPriority(EXTI9_5_IRQn, 0, 0);
  HAL_NVIC_EnableIRQ(EXTI9_5_IRQn);

  HAL_NVIC_SetPriority(EXTI15_10_IRQn, 0, 0);
  HAL_NVIC_EnableIRQ(EXTI15_10_IRQn);

}

void Error_Handler(void)
{
  __disable_irq();
  while (1)
  {
  }
}
